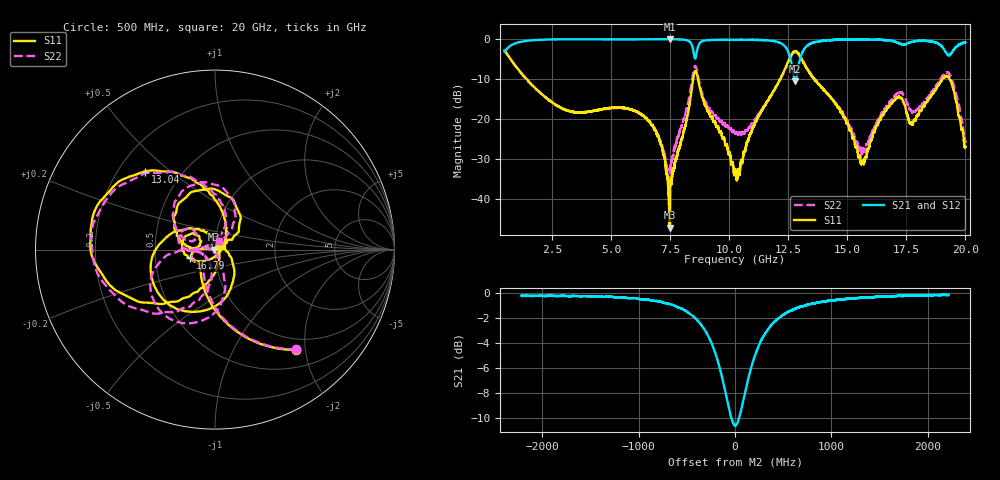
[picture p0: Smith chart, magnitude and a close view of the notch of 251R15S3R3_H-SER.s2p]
!{251R15S3R3}
!Johanson Technology Inc.
!www.johansontechnology.com
!Test Board Conditions:
!Substrate Type  RO4350B
!Substrate Thickness  20 mil
!Substrate Dk  3.66
!TL Type: GCPW
!TL Trace Width  34 mil
!TL Gap  10 mil
!Electrode orientation  Horizontal
!DUT TOPOLOGY	SERIES
!Mounting Pad LxW  26x52 mil
! Created Thu Mar 12 16:40:11 2020
# mhz S ma R 50
! 2 Port Network Data from SP1.SP block
! freq  magS11  angS11  magS21  angS21  magS12  angS12  magS22  angS22
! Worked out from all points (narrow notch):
!   19501 points, 500 MHz to 20 GHz, reference 50 ohm
!   highest |S21| = -0.04 dB at 7.487 GHz (marker M1); lowest = -10.6 dB at 12.79 GHz (marker M2)
!   notch at M2: 10.4 dB deep, 369 MHz wide at half that depth
!   lowest |S11| = -47.1 dB at 7.497 GHz (marker M3), VSWR 1.01, Z = 49.6 + j0.0278 ohm
!   |S11| at or under -10 dB: 1.431 GHz to 8.48 GHz (7.048 GHz wide, 142 % of centre); 8.684 GHz to 12.17 GHz (3.485 GHz wide, 33.4 % of centre); 13.6 GHz to 19.03 GHz (5.426 GHz wide, 33.3 % of centre)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
!   |S22| runs from -38.8 to -2.9 dB; largest |S21 - S12| = 0.016
!   S11 on the Smith chart (normalised r, x): 500 MHz: 0.79, -1.83; 13.04 GHz: 0.31, +0.41; 16.79 GHz: 0.75, -0.07; 20 GHz: 1.08, +0.06
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500  0.7189 -51.0  0.6903 39.5  0.6924 39.5  0.7163 -50.8
1579  0.282 -96.9  0.9568 -5.0  0.956 -5.0  0.2805 -94.3
3750  0.1208 -138.9  0.9897 -48.2  0.9902 -48.2  0.1204 -135.0
5905  0.1299 -170.7  0.9875 -83.3  0.9872 -83.3  0.1296 -172.2
7000  0.06138 172.6  0.9938 -101.3  0.9944 -101.3  0.06373 171.7
7487  0.005284 173.0  0.9959 -109.9  0.9948 -109.9  0.01177 -164.0
7497  0.004418 176.4  0.9952 -110.1  0.9951 -110.1  0.01143 -161.2
8355  0.1745 -52.0  0.9121 -133.3  0.9112 -133.3  0.219 -74.9
8576  0.4012 -137.8  0.5745 -121.1  0.5752 -120.9  0.4599 -129.9
8837  0.1979 145.3  0.9285 -119.5  0.9284 -119.5  0.217 -176.3
10250  0.02233 31.6  0.9763 -151.0  0.9773 -151.1  0.06676 -151.8
11960  0.247 -112.0  0.9306 171.5  0.9323 171.6  0.2467 -102.7
12517  0.5332 -148.6  0.672 147.1  0.6821 147.2  0.5168 -138.7
12795  0.7023 168.7  0.2948 172.3  0.2984 172.0  0.691 175.3
13036  0.5844 132.0  0.6073 -158.7  0.6076 -159.0  0.5847 134.8
13500  0.3441 99.9  0.8851 -178.9  0.8826 -179.0  0.3464 96.5
15641  0.02998 -38.4  0.9834 132.9  0.9832 133.3  0.03931 120.7
16750  0.1417 -157.6  0.9607 111.3  0.9529 110.9  0.1551 -179.5
16790  0.1459 -161.0  0.9541 110.2  0.9451 110.3  0.1633 178.9
17728  0.0889 162.7  0.9177 100.5  0.9243 100.1  0.1246 146.2
19232  0.341 99.5  0.6436 69.7  0.6463 70.1  0.3814 104.1
20000  0.04512 34.8  0.9007 71.0  0.8995 70.9  0.051 63.0
